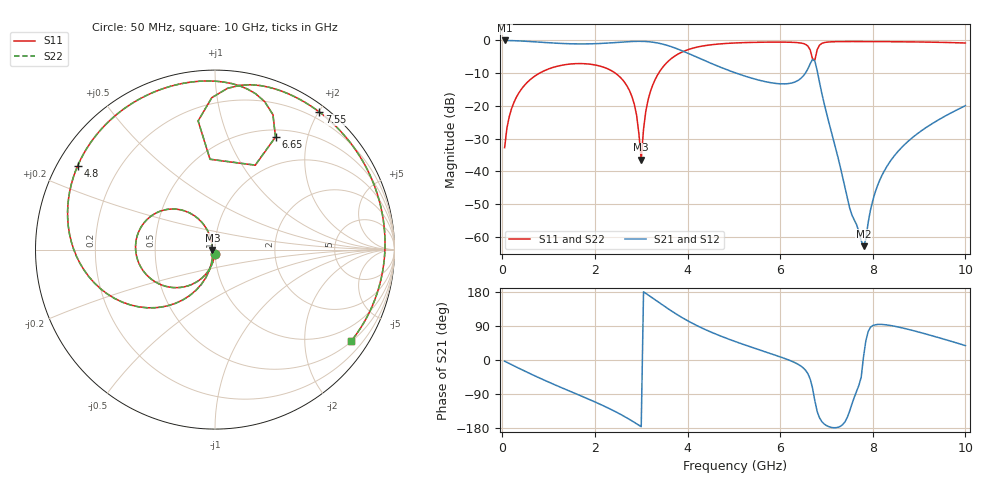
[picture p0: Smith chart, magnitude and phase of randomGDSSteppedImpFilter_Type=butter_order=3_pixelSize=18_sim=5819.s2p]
! freq	dB(S11)	phase(S11)	dB(S12)	phase(S12)
!  dB(S21)	phase(S21)	dB(S22)	phase(S22)
!S-par simulation data
#  GHz  S  DB  R 50
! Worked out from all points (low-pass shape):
!   200 points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, 50 MHz to 10 GHz, reference 50 ohm
!   highest |S21| = -0.01 dB at 50 MHz (marker M1); lowest = -62.9 dB at 7.8 GHz (marker M2)
!   |S21| within 3 dB of the highest: start of sweep to 3.855 GHz
!   lowest |S11| = -36.5 dB at 3 GHz (marker M3), VSWR 1.03, Z = 48.5 - j0.24 ohm
!   |S11| at or under -10 dB: start of sweep to 803.6 MHz; 2.441 GHz to 3.376 GHz (935.6 MHz wide, 32.2 % of centre)
!   |S22| runs from -37.0 to -0.3 dB; largest |S21 - S12| = 0
!   S11 on the Smith chart (normalised r, x): 50 MHz: 1.00, -0.05; 4.8 GHz: 0.06, +0.28; 6.65 GHz: 0.59, +1.51; 7.55 GHz: 0.10, +2.01; 10 GHz: 0.52, -3.22
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0.05  -32.78 -93.2  -0.01 -3.1  -0.01 -3.1  -32.78 -93.2
0.2  -20.86 -102.6  -0.05 -12.3  -0.05 -12.3  -20.86 -102.6
0.5  -13.38 -120.7  -0.25 -30.2  -0.25 -30.2  -13.38 -120.7
1.75  -7.09 172.3  -1.07 -97.4  -1.07 -97.4  -7.09 172.3
2.7  -14.08 118.8  -0.39 -153.4  -0.39 -153.4  -14.08 118.5
2.9  -22.82 110.7  -0.28 -168.2  -0.28 -168.2  -22.84 110.0
3  -36.47 -170.5  -0.28 -176.0  -0.28 -176.0  -36.97 -170.4
3.15  -18.07 -105.7  -0.38 171.6  -0.38 171.6  -18.08 -105.3
3.4  -9.45 -123.0  -0.91 150.3  -0.91 150.3  -9.45 -122.9
4.1  -2.42 -174.3  -4.48 97.2  -4.48 97.2  -2.42 -174.3
4.8  -0.95 148.5  -8.68 59.2  -8.68 59.2  -0.95 148.6
5.05  -0.75 137.5  -9.99 47.8  -9.99 47.8  -0.75 137.6
6.15  -0.53 93.3  -13.23 1.6  -13.23 1.6  -0.53 93.3
6.65  -2.95 61.7  -7.10 -50.7  -7.10 -50.7  -2.95 61.8
6.7  -5.67 64.5  -5.78 -74.8  -5.78 -74.8  -5.65 64.6
6.8  -2.82 97.5  -9.23 -135.9  -9.23 -135.9  -2.81 97.5
6.95  -0.66 81.2  -19.27 -168.8  -19.27 -168.8  -0.66 81.2
7.55  -0.34 52.8  -53.36 -116.0  -53.36 -116.0  -0.34 52.8
7.8  -0.34 43.6  -62.88 8.3  -62.88 8.3  -0.34 43.6
8.05  -0.35 34.6  -46.47 92.7  -46.47 92.7  -0.35 34.6
8.35  -0.38 24.1  -37.51 91.8  -37.51 91.8  -0.38 24.1
10  -0.78 -33.7  -19.93 38.0  -19.93 38.0  -0.78 -33.7
